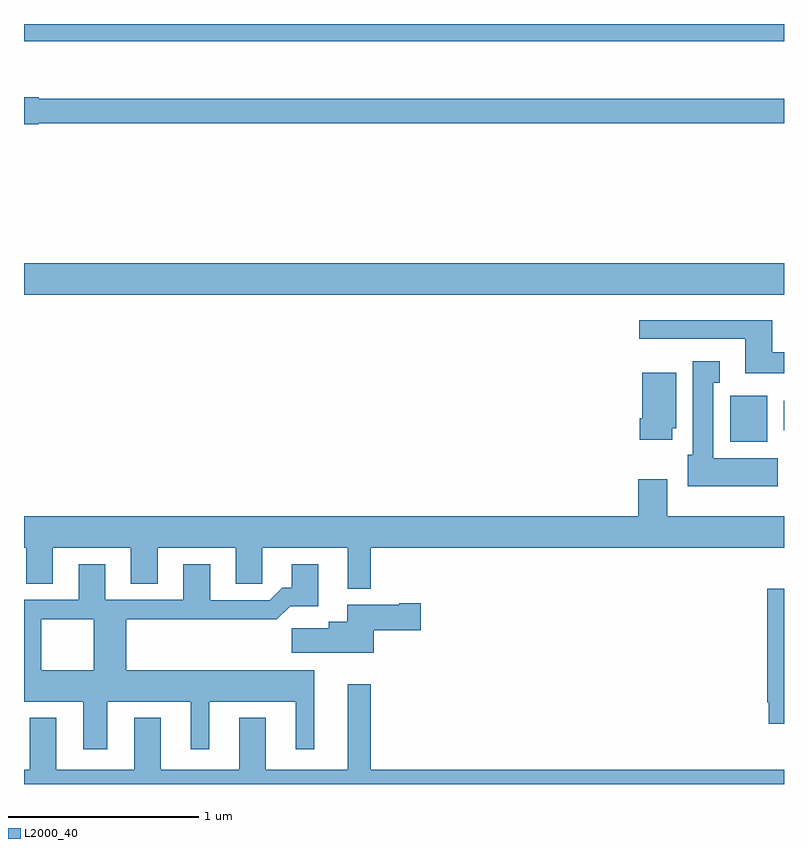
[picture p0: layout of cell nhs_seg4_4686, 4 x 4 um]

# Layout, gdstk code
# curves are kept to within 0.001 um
import gdstk
lib = gdstk.Library(unit=1e-6, precision=1e-09)
def R(c, l, rs):  # rectangles x0, y0, x1, y1
    for r in rs: c.add(gdstk.rectangle(r[:2], r[2:], *l))
def P(c, l, *ps):  # polygons
    for p in ps: c.add(gdstk.Polygon(p, *l))
L2000_40 = (2000, 40)

nhs_seg4_4686 = lib.new_cell('nhs_seg4_4686')
R(nhs_seg4_4686, L2000_40, [(366.716,806.702,366.913,806.944), (366.998,806.761,367,806.917), (363,807.476,367,807.64), (363,808.808,367,808.9)])
P(nhs_seg4_4686, L2000_40, [(363.078,808.378),(367,808.378),(367,808.507),(363.078,808.507),(363.078,808.515),(363,808.515),(363,808.373),(363.078,808.373)],
  [(367,807.172),(366.937,807.172),(366.937,807.34),(366.237,807.34),(366.237,807.243),(366.797,807.243),(366.797,807.062),(367,807.062)],
  [(366.967,806.614),(366.628,806.614),(366.628,807.011),(366.661,807.011),(366.661,807.124),(366.521,807.124),(366.521,806.634),(366.494,806.634),(366.494,806.468),(366.967,806.468)],
  [(366.412,806.772),(366.433,806.772),(366.433,807.064),(366.254,807.064),(366.254,806.824),(366.242,806.824),(366.242,806.712),(366.412,806.712)],
  [(364.825,806.144),(367,806.144),(367,806.308),(366.385,806.308),(366.385,806.503),(366.233,806.503),(366.233,806.308),(363,806.308),(363,806.144),(363.011,806.144),(363.011,805.954),(363.151,805.954),(363.151,806.144),(363.563,806.144),(363.563,805.954),(363.703,805.954),(363.703,806.144),(364.115,806.144),(364.115,805.954),(364.254,805.954),(364.254,806.144),(364.703,806.144),(364.703,805.928),(364.825,805.928)],
  [(363.311,805.334),(363.311,805.083),(363.439,805.083),(363.439,805.334),(363.878,805.334),(363.878,805.083),(363.976,805.083),(363.976,805.334),(364.43,805.334),(364.43,805.083),(364.528,805.083),(364.528,805.498),(363.539,805.498),(363.539,805.768),(364.075,805.768),(364.075,805.766),(364.331,805.766),(364.4,805.835),(364.549,805.835),(364.549,806.056),(364.409,806.056),(364.409,805.933),(364.36,805.933),(364.293,805.866),(363.979,805.866),(363.979,806.056),(363.839,806.056),(363.839,805.869),(363.427,805.869),(363.427,806.056),(363.287,806.056),(363.287,805.869),(363,805.869),(363,805.498),(363.091,805.498),(363.091,805.768),(363.368,805.768),(363.368,805.498),(363,805.498),(363,805.334)],
  [(367,805.928),(366.913,805.928),(366.913,805.33),(366.921,805.33),(366.921,805.218),(367,805.218)],
  [(364.84,805.709),(365.089,805.709),(365.089,805.851),(364.976,805.851),(364.976,805.843),(364.7,805.843),(364.7,805.753),(364.604,805.753),(364.604,805.721),(364.41,805.721),(364.41,805.592),(364.84,805.592)],
  [(367,804.976),(364.825,804.976),(364.825,805.426),(364.703,805.426),(364.703,804.976),(364.273,804.976),(364.273,805.249),(364.133,805.249),(364.133,804.976),(363.721,804.976),(363.721,805.249),(363.581,805.249),(363.581,804.976),(363.169,804.976),(363.169,805.249),(363.029,805.249),(363.029,804.976),(363,804.976),(363,804.9),(367,804.9)])

lib.write_gds('nhs_seg4_4686.gds')
